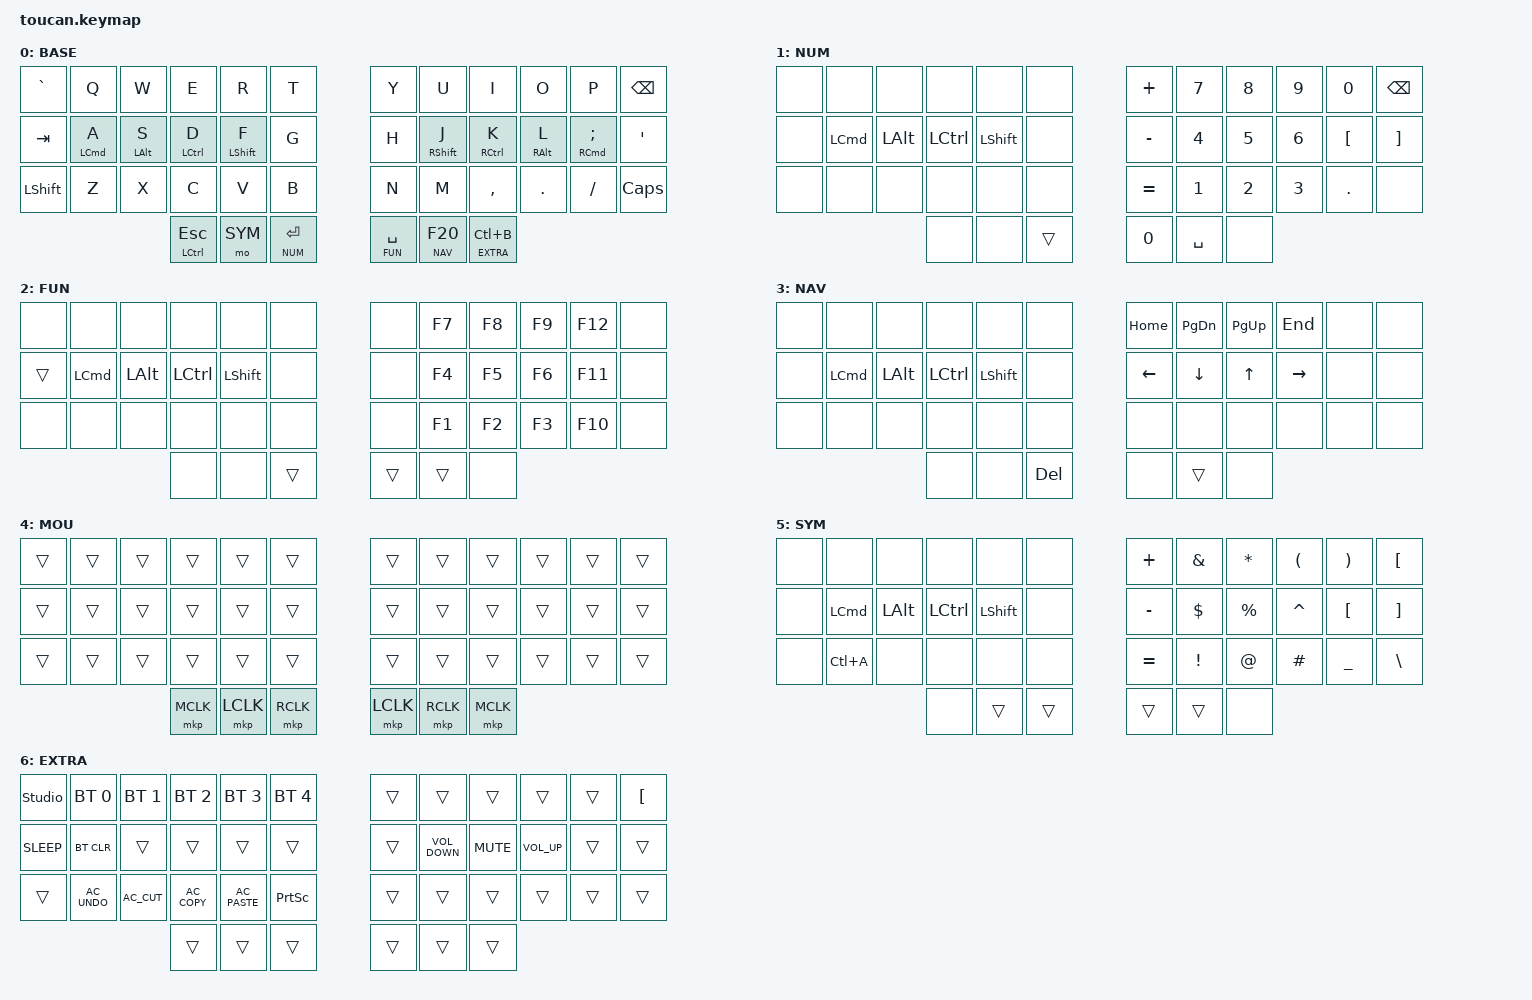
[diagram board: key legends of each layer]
#include <behaviors.dtsi>
#include <dt-bindings/zmk/keys.h>
#include <dt-bindings/zmk/bt.h>
#include <dt-bindings/zmk/outputs.h>
#include <dt-bindings/zmk/pointing.h>

#define BASE   0
#define NUM    1
#define FUN    2
#define NAV    3
#define MOUSE  4
#define SYM    5
#define EXTRA  6


/ {
      soft_off_keys {
          compatible = "gpio-keys";

          soft_off_key: soft_off_key {
              gpios = <&gpio0 19 (GPIO_ACTIVE_HIGH | GPIO_PULL_DOWN)>;
          };
      };

      wakeup_scan: wakeup_scan {
          compatible = "zmk,gpio-key-wakeup-trigger";
          trigger = <&soft_off_key>;
          wakeup-source;
          extra-gpios = <&gpio0 4 GPIO_ACTIVE_HIGH>;
      };

      soft_off_wakers {
          compatible = "zmk,soft-off-wakeup-sources";
          wakeup-sources = <&wakeup_scan>;
      };


      hml: hml {
          compatible = "zmk,behavior-hold-tap";
          label = "HML";
          #binding-cells = <2>;
          bindings = <&kp>, <&kp>;

          tapping-term-ms = <280>;
          quick-tap-ms = <175>;
          flavor = "balanced";
          hold-trigger-on-release;
          require-prior-idle-ms = <150>;

          /* All keys on the right half */
          hold-trigger-key-positions = <
              6 7 8 9 10 11
              18 19 20 21 22 23
              30 31 32 33 34 35
              39 40 41
          >;
      };

      hmr: hmr {
          compatible = "zmk,behavior-hold-tap";
          label = "HMR";
          #binding-cells = <2>;
          bindings = <&kp>, <&kp>;

          tapping-term-ms = <280>;
          quick-tap-ms = <175>;
          flavor = "balanced";
          hold-trigger-on-release;
          require-prior-idle-ms = <150>;

          /* All keys on the left half */
          hold-trigger-key-positions = <
              0 1 2 3 4 5
              12 13 14 15 16 17
              24 25 26 27 28 29
              36 37 38
          >;
      };
            combos {
          compatible = "zmk,combos";
	            softoff {
              bindings = <&soft_off>;
              key-positions = <1 14 25>;
          };


          caps_word {
              bindings = <&caps_word>;
              key-positions = <13 22>;
              require-prior-idle-ms = <150>;
              timeout-ms = <40>;
          };
      };

    keymap {
        compatible = "zmk,keymap";

        base {
            display-name = "BASE";
            bindings = <
                &kp GRAVE       &kp Q        &kp W        &kp E         &kp R          &kp T             &kp Y          &kp U          &kp I          &kp O         &kp P           &kp BACKSPACE
                &kp TAB         &hml LCMD A  &hml LALT S  &hml LCTRL D  &hml LSHIFT F  &kp G             &kp H          &hmr RSHIFT J  &hmr RCTRL K  &hmr RALT L  &hmr RCMD SEMI  &kp APOS
                &kp LEFT_SHIFT  &kp Z        &kp X        &kp C         &kp V          &kp B             &kp N          &kp M          &kp COMMA      &kp DOT       &kp FSLH        &kp CAPS
                                           &mt LCTRL ESCAPE  &mo SYM  &lt NUM ENTER    &lt FUN SPACE  &lt NAV F20  &lt EXTRA LC(B)
            >;
        };

        num {
            display-name = "NUM";
            bindings = <
                &none  &none     &none     &none      &none       &none              &kp PLUS   &kp N7  &kp N8  &kp N9  &kp N0    &kp BACKSPACE
                &none  &kp LCMD  &kp LALT  &kp LCTRL  &kp LSHIFT  &none              &kp MINUS  &kp N4  &kp N5  &kp N6  &kp LBKT  &kp RBKT
                &none  &none     &none     &none      &none       &none              &kp EQUAL  &kp N1  &kp N2  &kp N3  &kp DOT   &none
                                  &none  &none  &trans              &kp N0  &kp SPACE  &none
            >;
        };

        fun {
            display-name = "FUN";
            bindings = <
                &none   &none     &none     &none      &none       &none              &none  &kp F7  &kp F8  &kp F9  &kp F12  &none
                &trans  &kp LCMD  &kp LALT  &kp LCTRL  &kp LSHFT  &none              &none  &kp F4  &kp F5  &kp F6  &kp F11  &none
                &none   &none     &none     &none      &none       &none              &none  &kp F1  &kp F2  &kp F3  &kp F10  &none
                                  &none  &none  &trans              &trans  &trans  &none
            >;
        };

        nav {
            display-name = "NAV";
            bindings = <
                &none  &none     &none     &none      &none       &none              &kp HOME  &kp PG_DN  &kp PG_UP  &kp END    &none  &none
                &none  &kp LCMD  &kp LALT  &kp LCTRL  &kp LSHFT  &none              &kp LEFT  &kp DOWN   &kp UP     &kp RIGHT  &none  &none
                &none  &none     &none     &none      &none       &none              &none     &none      &none      &none      &none  &none
                                  &none  &none  &kp DEL             &none  &trans  &none
            >;
        };

        mouse {
            display-name = "MOU";
            bindings = <
                &trans  &trans  &trans  &trans  &trans  &trans            &trans  &trans  &trans  &trans  &trans  &trans
                &trans  &trans  &trans  &trans  &trans  &trans            &trans  &trans  &trans  &trans  &trans  &trans
                &trans  &trans  &trans  &trans  &trans  &trans            &trans  &trans  &trans  &trans  &trans  &trans
                                &mkp MCLK  &mkp LCLK  &mkp RCLK           &mkp LCLK  &mkp RCLK  &mkp MCLK
            >;
        };

        sym {
            display-name = "SYM";
            bindings = <
                &none  &none      &none     &none      &none      &none              &kp PLUS   &kp AMPS  &kp ASTRK  &kp LPAR   &kp RPAR   &kp LEFT_BRACKET
                &none  &kp LCMD   &kp LALT  &kp LCTRL  &kp LSHFT  &none              &kp MINUS  &kp DLLR  &kp PRCNT  &kp CARET  &kp LBKT   &kp RBKT
                &none  &kp LC(A)  &none     &none      &none      &none              &kp EQUAL  &kp EXCL  &kp AT     &kp HASH   &kp UNDER  &kp BACKSLASH
                                   &none  &trans  &trans             &trans  &trans  &none
            >;
        };

        extra {
            display-name = "EXTRA";
            bindings = <
                &studio_unlock  &bt BT_SEL 0   &bt BT_SEL 1  &bt BT_SEL 2   &bt BT_SEL 3    &bt BT_SEL 4       &trans  &trans  &trans  &trans  &trans  &kp LEFT_BRACKET
                &kp C_SLEEP     &bt BT_CLR     &trans        &trans         &trans          &trans             &trans  &kp C_VOLUME_DOWN  	&kp C_MUTE  	&kp C_VOLUME_UP  &trans  &trans
                &trans          &kp C_AC_UNDO  &kp C_AC_CUT  &kp C_AC_COPY  &kp C_AC_PASTE  &kp PRINTSCREEN    &trans  &trans  &trans  &trans  &trans  &trans
                                                   &trans  &trans  &trans    &trans  &trans  &trans
            >;
        };
    };
};
  &soft_off {
      hold-time-ms = <2000>;
  };
